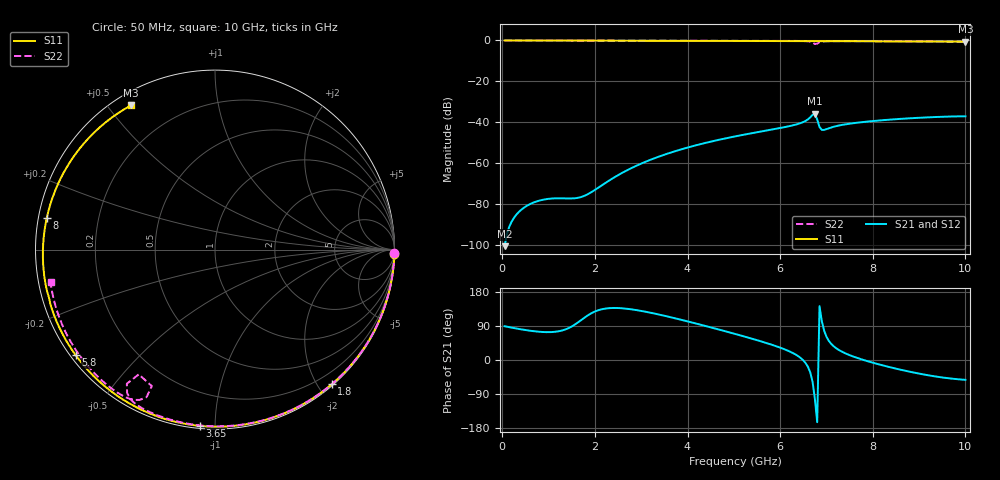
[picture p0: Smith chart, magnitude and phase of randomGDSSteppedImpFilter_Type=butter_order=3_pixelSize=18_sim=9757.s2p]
! freq	dB(S11)	phase(S11)	dB(S12)	phase(S12)
!  dB(S21)	phase(S21)	dB(S22)	phase(S22)
!S-par simulation data
#  GHz  S  DB  R 50
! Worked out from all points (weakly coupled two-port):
!   200 points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, 50 MHz to 10 GHz, reference 50 ohm
!   highest |S21| = -35.87 dB at 6.75 GHz (marker M1); lowest = -100.7 dB at 50 MHz (marker M2)
!   lowest |S11| = -0.6 dB at 10 GHz (marker M3), VSWR 27.55, Z = 2.41 + j28.7 ohm
!   |S11| at or under -10 dB: nowhere
!   |S22| runs from -1.8 to 0.0 dB; largest |S21 - S12| = 0
!   S11 on the Smith chart (normalised r, x): 50 MHz: 0, -81; 1.8 GHz: 0.02, -2.19; 3.65 GHz: 0.01, -0.92; 5.8 GHz: 0.01, -0.34; 8 GHz: 0.02, +0.09; 10 GHz: 0.05, +0.57
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0.05  -0.00 -1.4  -100.70 89.2  -100.70 89.2  -0.00 -1.0
0.6  -0.02 -16.7  -80.09 77.2  -80.09 77.2  -0.02 -11.7
0.85  -0.03 -23.6  -78.10 74.0  -78.10 74.0  -0.02 -16.5
1.75  -0.06 -47.8  -76.26 109.6  -76.26 109.6  -0.04 -33.6
1.8  -0.06 -49.1  -75.78 113.9  -75.78 113.9  -0.04 -34.5
2.65  -0.09 -70.8  -64.06 135.8  -64.06 135.8  -0.06 -50.2
3.4  -0.11 -89.1  -56.71 119.5  -56.71 119.5  -0.08 -63.7
3.65  -0.12 -95.0  -54.79 112.4  -54.79 112.4  -0.09 -68.0
4.35  -0.15 -111.1  -50.35 91.0  -50.35 91.0  -0.11 -80.1
5.05  -0.19 -126.6  -46.86 68.0  -46.86 68.0  -0.14 -91.8
5.8  -0.23 -142.8  -43.70 41.0  -43.70 41.0  -0.18 -104.1
6.45  -0.28 -156.8  -40.39 4.6  -40.39 4.6  -0.26 -115.7
6.7  -0.31 -162.3  -36.40 -57.5  -36.40 -57.5  -0.97 -123.3
6.75  -0.32 -163.3  -35.87 -102.7  -35.87 -102.7  -1.78 -121.4
6.8  -0.33 -164.3  -38.68 -164.1  -38.68 -164.1  -1.53 -114.8
6.85  -0.32 -165.3  -42.38 142.1  -42.38 142.1  -0.86 -114.9
6.9  -0.32 -166.4  -43.79 102.5  -43.79 102.5  -0.57 -116.6
7.25  -0.34 -174.1  -41.72 27.8  -41.72 27.8  -0.31 -124.6
8  -0.41 169.2  -39.45 -7.1  -39.45 -7.1  -0.35 -136.9
8.35  -0.45 161.2  -38.78 -18.4  -38.78 -18.4  -0.38 -142.4
9.15  -0.53 142.0  -37.68 -39.3  -37.68 -39.3  -0.47 -155.0
10  -0.63 120.3  -37.12 -52.4  -37.12 -52.4  -0.59 -168.9
